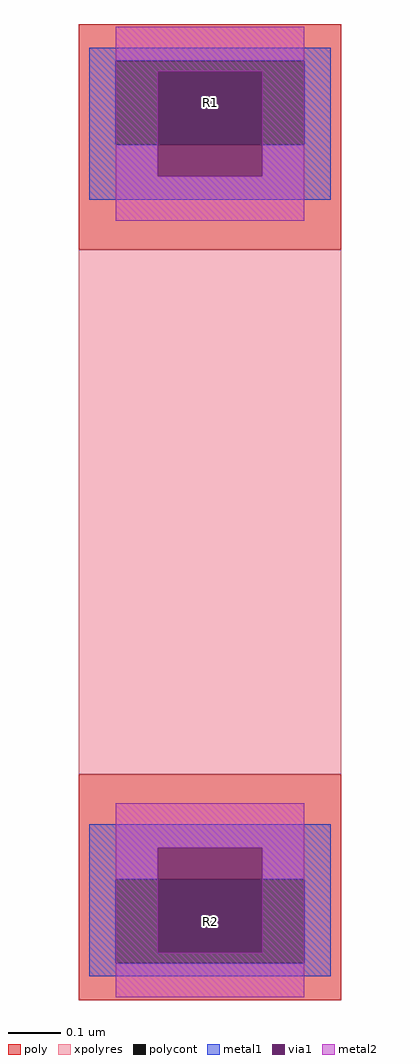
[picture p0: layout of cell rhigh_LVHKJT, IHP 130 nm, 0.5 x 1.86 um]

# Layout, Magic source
magic
tech ihp-sg13g2
magscale 1 2
<< poly >>
rect -50 172 50 186
rect -50 140 -36 172
rect 36 140 50 172
rect -50 100 50 140
rect -50 -140 50 -100
rect -50 -172 -36 -140
rect 36 -172 50 -140
rect -50 -186 50 -172
<< polycont >>
rect -36 140 36 172
rect -36 -172 36 -140
<< xpolyres >>
rect -50 -100 50 100
<< metal1 >>
rect -46 172 46 177
rect -46 140 -36 172
rect 36 140 46 172
rect -46 128 -20 140
rect 20 128 46 140
rect -46 119 46 128
rect -46 -128 46 -119
rect -46 -140 -20 -128
rect 20 -140 46 -128
rect -46 -172 -36 -140
rect 36 -172 46 -140
rect -46 -177 46 -172
<< via1 >>
rect -20 140 20 168
rect -20 128 20 140
rect -20 -140 20 -128
rect -20 -168 20 -140
<< metal2 >>
rect -36 168 36 185
rect -36 128 -20 168
rect 20 128 36 168
rect -36 111 36 128
rect -36 -128 36 -111
rect -36 -168 -20 -128
rect 20 -168 36 -128
rect -36 -185 36 -168
<< labels >>
rlabel metal1 s 0 156 0 156 4 R1
rlabel metal1 s 0 -156 0 -156 4 R2
<< end >>
